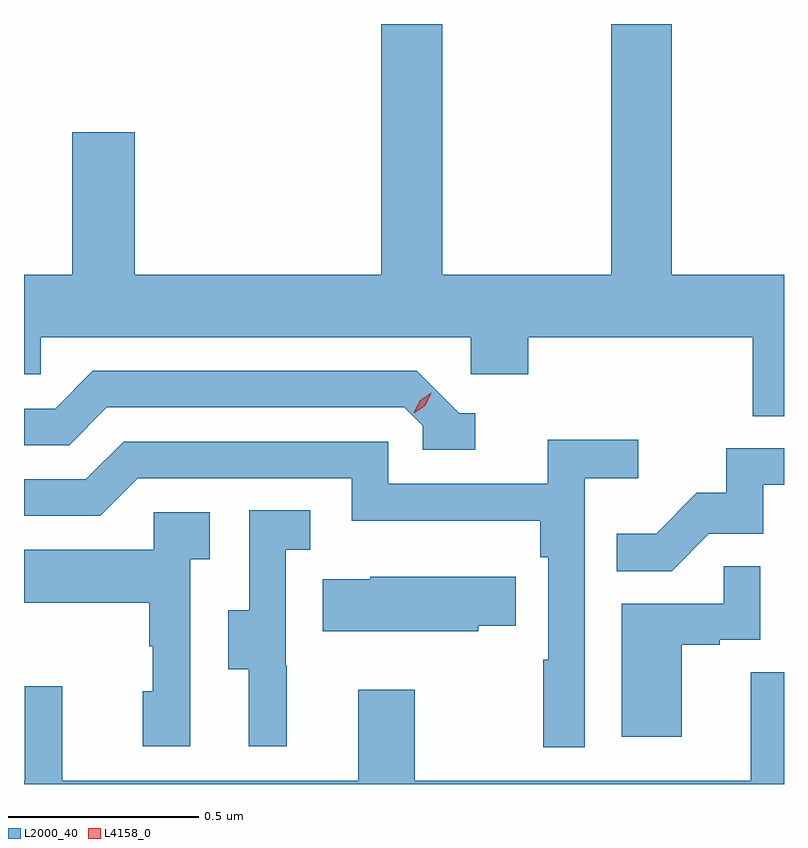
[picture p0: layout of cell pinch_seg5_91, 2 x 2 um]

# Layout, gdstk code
import gdstk
lib = gdstk.Library(unit=1e-6, precision=1e-09)
def P(c, l, *ps):  # polygons
    for p in ps: c.add(gdstk.Polygon(p, *l))
L2000_40 = (2000, 40)
L4158_0 = (4158, 0)

pinch_seg5_91 = lib.new_cell('pinch_seg5_91')
P(pinch_seg5_91, L2000_40, [(1030.017,898.216),(1029.722,898.216),(1029.722,898.876),(1029.562,898.876),(1029.562,898.216),(1029.117,898.216),(1029.117,898.876),(1028.957,898.876),(1028.957,898.216),(1028.308,898.216),(1028.308,898.591),(1028.144,898.591),(1028.144,898.216),(1028.017,898.216),(1028.017,897.954),(1028.061,897.954),(1028.061,898.052),(1029.192,898.052),(1029.192,897.954),(1029.344,897.954),(1029.344,898.052),(1029.935,898.052),(1029.935,897.844),(1030.017,897.844)],
  [(1029.205,897.852),(1029.162,897.852),(1029.051,897.963),(1028.198,897.963),(1028.099,897.864),(1028.017,897.864),(1028.017,897.768),(1028.136,897.768),(1028.235,897.867),(1029.018,897.867),(1029.066,897.819),(1029.066,897.756),(1029.205,897.756)],
  [(1029.492,897.68),(1029.634,897.68),(1029.634,897.782),(1029.395,897.782),(1029.395,897.666),(1028.976,897.666),(1028.976,897.777),(1028.279,897.777),(1028.18,897.678),(1028.017,897.678),(1028.017,897.582),(1028.217,897.582),(1028.316,897.681),(1028.88,897.681),(1028.88,897.569),(1029.376,897.569),(1029.376,897.473),(1029.396,897.473),(1029.396,897.203),(1029.384,897.203),(1029.384,896.973),(1029.492,896.973)],
  [(1029.819,897.534),(1029.963,897.534),(1029.963,897.663),(1030.017,897.663),(1030.017,897.759),(1029.865,897.759),(1029.865,897.642),(1029.788,897.642),(1029.681,897.535),(1029.577,897.535),(1029.577,897.436),(1029.721,897.436)],
  [(1028.708,897.189),(1028.706,897.189),(1028.706,897.493),(1028.77,897.493),(1028.77,897.596),(1028.61,897.596),(1028.61,897.333),(1028.555,897.333),(1028.555,897.178),(1028.609,897.178),(1028.609,896.976),(1028.708,896.976)],
  [(1028.454,897.467),(1028.506,897.467),(1028.506,897.591),(1028.358,897.591),(1028.358,897.493),(1028.017,897.493),(1028.017,897.353),(1028.346,897.353),(1028.346,897.239),(1028.356,897.239),(1028.356,897.12),(1028.33,897.12),(1028.33,896.976),(1028.454,896.976)],
  [(1029.748,897.243),(1029.848,897.243),(1029.848,897.255),(1029.954,897.255),(1029.954,897.449),(1029.859,897.449),(1029.859,897.351),(1029.59,897.351),(1029.59,897),(1029.748,897)],
  [(1029.213,897.292),(1029.311,897.292),(1029.311,897.421),(1028.928,897.421),(1028.928,897.415),(1028.803,897.415),(1028.803,897.278),(1029.213,897.278)],
  [(1030.017,897.17),(1029.929,897.17),(1029.929,896.884),(1029.045,896.884),(1029.045,897.124),(1028.897,897.124),(1028.897,896.884),(1028.117,896.884),(1028.117,897.133),(1028.019,897.133),(1028.019,896.884),(1028.017,896.884),(1028.017,896.876),(1030.017,896.876)])
P(pinch_seg5_91, L4158_0, [(1029.043,897.852),(1029.043,897.853),(1029.058,897.885),(1029.089,897.905),(1029.089,897.905),(1029.089,897.905),(1029.073,897.872),(1029.043,897.852)])

lib.write_gds('pinch_seg5_91.gds')
